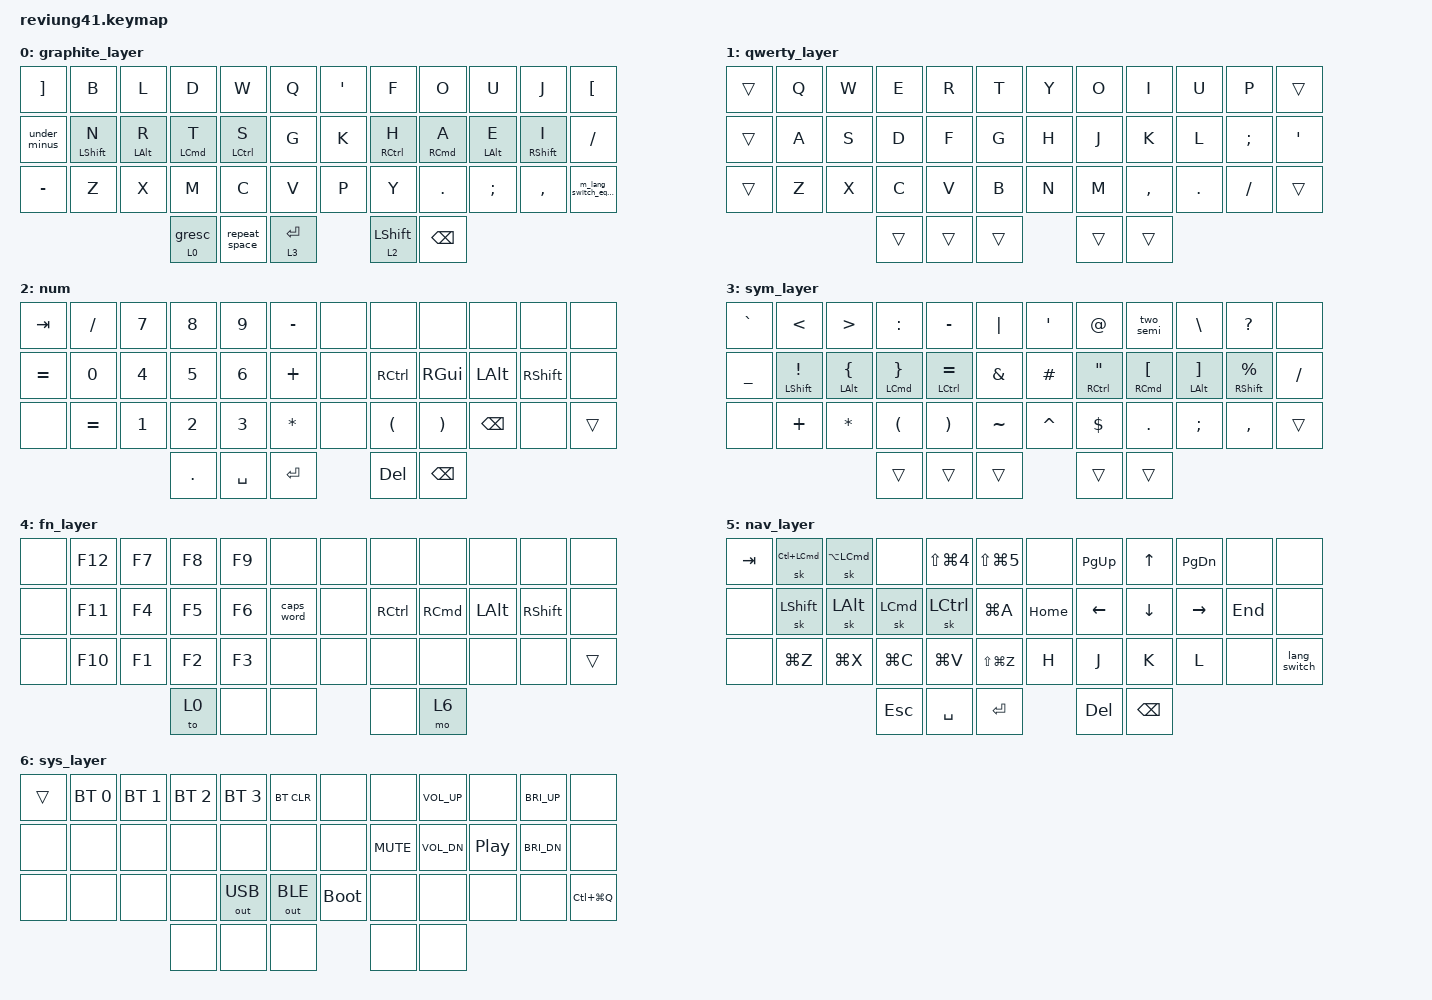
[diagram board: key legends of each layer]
/*
 * Copyright (c) 2020 The ZMK Contributors
 *
 * SPDX-License-Identifier: MIT
 */

#include <behaviors.dtsi>
#include <dt-bindings/zmk/bt.h>
#include <dt-bindings/zmk/keys.h>
#include <dt-bindings/zmk/outputs.h>

#define CMK 0
#define SMK 1
#define QWT 2
#define LOWER 3
#define RAISE 4
#define ADJUST 5

&mt { quick-tap-ms = <150>; };

&sl { /delete-property/ quick-release; };

&caps_word { continue-list = <UNDERSCORE MINUS BACKSPACE DELETE>; };

&gresc {
    mods = <(MOD_LGUI|MOD_RGUI)>;
    keep-mods = <(MOD_LGUI|MOD_RGUI)>;
};

/ {
    behaviors {
        lh_hm: lh_hm {
            compatible = "zmk,behavior-hold-tap";
            label = "left_hand_homerow_mods";
            bindings = <&kp>, <&kp>;

            #binding-cells = <2>;
            tapping-term-ms = <280>;
            quick-tap-ms = <200>;
            flavor = "balanced";
            require-prior-idle-ms = <60>;
            hold-trigger-on-release;
            hold-trigger-key-positions = <6 7 8 9 10 18 19 20 21 22 30 31 32 33 34 40 39 38 37 36 23 11 35 0 12 24>;
        };

        rh_hm: rh_hm {
            compatible = "zmk,behavior-hold-tap";
            label = "right_hand_homerow_mods";
            bindings = <&kp>, <&kp>;

            #binding-cells = <2>;
            tapping-term-ms = <280>;
            quick-tap-ms = <200>;
            flavor = "balanced";
            require-prior-idle-ms = <60>;
            hold-trigger-key-positions = <0 1 2 3 4 5 12 13 14 15 16 17 24 25 26 27 28 29 36 37 38 40 39 11 23 35>;
            hold-trigger-on-release;
        };

        smart_shft: smart_shft {
            compatible = "zmk,behavior-mod-morph";
            label = "SMART_SHFT";
            bindings = <&quick_sk LSHFT>, <&caps_word>;

            #binding-cells = <0>;
            mods = <(MOD_LSFT)>;
        };

        quick_sk: quick_sk {
            compatible = "zmk,behavior-sticky-key";
            label = "QUICK_STICKY_KEY";
            bindings = <&kp>;
            #binding-cells = <1>;
            release-after-ms = <900>;
            quick-release;
        };

        lh_lt: lh_lt {
            compatible = "zmk,behavior-hold-tap";
            label = "left_hand_layer_tap";
            bindings = <&mo>, <&kp>;

            #binding-cells = <2>;
            tapping-term-ms = <280>;
            flavor = "balanced";
            hold-trigger-key-positions = <6 7 8 9 10 11 18 19 20 21 22 23 30 31 32 33 34 35 39 40 36 37 38>;
            require-prior-idle-ms = <75>;
            quick-tap-ms = <200>;
        };

        rh_lt: rh_lt {
            compatible = "zmk,behavior-hold-tap";
            label = "right_hand_layer_tap";
            bindings = <&mo>, <&kp>;

            #binding-cells = <2>;
            tapping-term-ms = <280>;
            flavor = "balanced";
            hold-trigger-key-positions = <0 1 2 3 4 5 12 13 14 15 16 17 24 25 26 27 28 29 36 37 38 39 40>;
            require-prior-idle-ms = <75>;
            quick-tap-ms = <200>;
        };

        layer_gresc: layer_gresc {
            compatible = "zmk,behavior-hold-tap";
            label = "LAYER_GRESC";
            bindings = <&mo>, <&gresc>;

            #binding-cells = <2>;
            tapping-term-ms = <200>;
            quick-tap-ms = <150>;
            flavor = "tap-preferred";
        };

        layer_switcher: layer_switcher {
            compatible = "zmk,behavior-hold-tap";
            label = "LAYER_SWITCHER";
            bindings = <&mo>, <&tog>;

            #binding-cells = <2>;
            tapping-term-ms = <200>;
            flavor = "balanced";
        };

        m_lang_switch_equal: m_lang_switch_equal {
            compatible = "zmk,behavior-mod-morph";
            label = "M_LANG_SWITCH_EQUAL";
            bindings = <&lang_switch>, <&kp EQUAL>;

            #binding-cells = <0>;
            mods = <(MOD_RGUI|MOD_LGUI)>;
            keep-mods = <(MOD_RGUI|MOD_LGUI)>;
        };

        repeat_lt_sym_u: repeat_lt_sym_u {
            compatible = "zmk,behavior-mod-morph";
            label = "REPEAT_LT_SYM_U";
            bindings = <&rh_lt 3 U>, <&kp U>;

            #binding-cells = <0>;
            mods = <(MOD_LCTL)>;
            keep-mods = <(MOD_LCTL)>;
        };

        repeat_space: repeat_space {
            compatible = "zmk,behavior-mod-morph";
            label = "REPEAT_SPACE";
            bindings = <&lt 5 SPACE>, <&kp SPACE>;

            #binding-cells = <0>;
            mods = <(MOD_RSFT)>;
            keep-mods = <(MOD_RSFT)>;
        };

        thumb_lt: thumb_lt {
            compatible = "zmk,behavior-hold-tap";
            label = "THUMB_LT";
            bindings = <&mo>, <&kp>;

            #binding-cells = <2>;
            tapping-term-ms = <280>;
            flavor = "hold-preferred";
        };

        thumb_mt: thumb_mt {
            compatible = "zmk,behavior-hold-tap";
            label = "THUMB_MT";
            bindings = <&kp>, <&kp>;

            #binding-cells = <2>;
            tapping-term-ms = <120>;
            retro-tap;
            quick-tap-ms = <200>;
        };

        layer_sshft: lsk {
            compatible = "zmk,behavior-hold-tap";
            label = "LAYER_SSHFT";
            bindings = <&mo>, <&smart_shft>;

            #binding-cells = <2>;
            tapping-term-ms = <150>;
            flavor = "balanced";
        };

        under_minus: under_minus {
            compatible = "zmk,behavior-mod-morph";
            label = "UNDER_MINUS";
            bindings = <&kp UNDER>, <&kp MINUS>;

            #binding-cells = <0>;
            mods = <(MOD_LSFT|MOD_RSFT|MOD_LCTL|MOD_LGUI|MOD_RGUI|MOD_RCTL|MOD_LALT|MOD_RALT)>;
            keep-mods = <(MOD_LCTL|MOD_LALT|MOD_LGUI|MOD_RCTL|MOD_RALT|MOD_RGUI)>;
        };
    };

    macros {
        lang_switch: lang_switch {
            compatible = "zmk,behavior-macro";
            #binding-cells = <0>;
            bindings = <&tog 1 &kp RA(SPACE)>;
            label = "LANG_SWITCH";
        };

        two_semi: two_semi {
            compatible = "zmk,behavior-macro";
            #binding-cells = <0>;
            bindings = <&kp COLON &kp COLON>;
            label = "TWO_SEMI";
        };
    };

    combos { compatible = "zmk,combos"; };

    keymap {
        compatible = "zmk,keymap";

        graphite_layer {
            // -------------------------------------------------------------------------------------
            // |  TAB |  Q  |  W  |  F  |  P  |  B  |   |  J  |  L   |  U  |  Y  |  :  |   BKSP    |
            // | CTRL |  A  |  R  |  S  |  T  |  G  |   |  M  |  N   |  E  |  I  |  O  |    '      |
            // | SHFT |  Z  |  X  |  C  |  D  |  V  |   |  K  |  H   |  ,  |  .  |  /  | SHFT(RET) |
            //              | LGUI   |  LWR/SPC  | RSE/ENT |   LSHFT/BKSP  | ALT |

            bindings = <
&kp RBKT      &kp B           &kp L          &kp D             &kp W           &kp Q                   &kp SQT  &kp F                 &kp O          &kp U          &kp J           &kp LBKT
&under_minus  &lh_hm LSHFT N  &lh_hm LALT R  &lh_hm LCMD T     &lh_hm LCTRL S  &kp G                   &kp K    &rh_hm RCTRL H        &rh_hm RCMD A  &rh_hm LALT E  &rh_hm RSHFT I  &kp FSLH
&kp MINUS     &kp Z           &kp X          &kp M             &kp C           &kp V                   &kp P    &kp Y                 &kp DOT        &kp SEMI       &kp COMMA       &m_lang_switch_equal
                                             &layer_gresc 0 0  &repeat_space          &thumb_lt 3 RET           &layer_sshft 2 LSHFT  &kp BSPC
            >;
        };

        qwerty_layer {
            // -------------------------------------------------------------------------------------
            // |  TAB |  Q  |  W  |  F  |  P  |  B  |   |  J  |  L   |  U  |  Y  |  :  |   BKSP    |
            // | CTRL |  A  |  R  |  S  |  T  |  G  |   |  M  |  N   |  E  |  I  |  O  |    '      |
            // | SHFT |  Z  |  X  |  C  |  D  |  V  |   |  K  |  H   |  ,  |  .  |  /  | SHFT(RET) |
            //              | LGUI   |  LWR/SPC  | RSE/ENT |   LSHFT/BKSP  | ALT |

            bindings = <
&trans  &kp Q  &kp W  &kp E   &kp R   &kp T          &kp Y  &kp O   &kp I      &kp U    &kp P     &trans
&trans  &kp A  &kp S  &kp D   &kp F   &kp G          &kp H  &kp J   &kp K      &kp L    &kp SEMI  &kp SQT
&trans  &kp Z  &kp X  &kp C   &kp V   &kp B          &kp N  &kp M   &kp COMMA  &kp DOT  &kp FSLH  &trans
                      &trans  &trans         &trans         &trans  &trans
            >;
        };

        num {
            bindings = <
&kp TAB    &kp FSLH   &kp N7  &kp N8   &kp N9     &kp MINUS           &none  &none      &none     &none     &none      &none
&kp EQUAL  &kp N0     &kp N4  &kp N5   &kp N6     &kp PLUS            &none  &kp RCTRL  &kp RGUI  &kp LALT  &kp RSHFT  &none
&none      &kp EQUAL  &kp N1  &kp N2   &kp N3     &kp STAR            &none  &kp LPAR   &kp RPAR  &kp BSPC  &none      &trans
                              &kp DOT  &kp SPACE             &kp RET         &kp DEL    &kp BSPC
            >;
        };

        sym_layer {
            bindings = <
&kp GRAVE  &kp LT             &kp GT            &kp COLON         &kp MINUS           &kp PIPE           &kp SQT    &kp AT            &two_semi         &kp BSLH          &kp QMARK           &none
&kp UNDER  &lh_hm LSHFT EXCL  &lh_hm LALT LBRC  &lh_hm LCMD RBRC  &lh_hm LCTRL EQUAL  &kp AMPS           &kp HASH   &rh_hm RCTRL DQT  &rh_hm RCMD LBKT  &rh_hm LALT RBKT  &rh_hm RSHFT PRCNT  &kp FSLH
&none      &kp PLUS           &kp STAR          &kp LPAR          &kp RPAR            &kp TILDE          &kp CARET  &kp DLLR          &kp DOT           &kp SEMI          &kp COMMA           &trans
                                                &trans            &trans                         &trans             &trans            &trans
            >;
        };

        fn_layer {
            bindings = <
&none  &kp F12  &kp F7  &kp F8  &kp F9  &none       &none   &none      &none     &none     &none      &none
&none  &kp F11  &kp F4  &kp F5  &kp F6  &caps_word  &none   &kp RCTRL  &kp RCMD  &kp LALT  &kp RSHFT  &none
&none  &kp F10  &kp F1  &kp F2  &kp F3  &none       &none   &none      &none     &none     &none      &trans
                              &to 0         &none                           &none           &none   &mo 6
            >;
        };

        nav_layer {
            // -----------------------------------------------------------------------------------------
            // |    |  1  |  2  |  3  |  4  |  5  |   |  6  |  7  |  8  |  9  |  0  | DEL |
            // |    |  -  |  =  |  [  |  ]  |  \  |   | F1  | F2  | F3  | F4  | F5  | F6  |
            // |    | ESC | GUI | ALT | CAPS|  "  |   | F7  | F8  | F9  | F10 | F11 | F12 |
            //                       |     | ADJ | BKSP |    |     |

            bindings = <
&kp TAB  &sk LC(LCMD)  &sk LA(LCMD)  &none      &kp LS(LG(NUMBER_4))  &kp LS(LG(N5))             &none     &kp PG_UP  &kp UP    &kp PG_DN  &none    &none
&none    &sk LSHFT     &sk LALT      &sk LCMD   &sk LCTRL             &kp LG(A)                  &kp HOME  &kp LEFT   &kp DOWN  &kp RIGHT  &kp END  &none
&none    &kp LG(Z)     &kp LG(X)     &kp LG(C)  &kp LG(V)             &kp LS(LG(Z))              &kp H     &kp J      &kp K     &kp L      &none    &lang_switch
                                     &kp ESC    &kp SPACE                             &kp ENTER            &kp DEL    &kp BSPC
            >;
        };

        sys_layer {
            // -----------------------------------------------------------------------------------------
            // | RGB BRI+ | RGB SAT+ | RGB HUE+ | RGB ANI+ |    | RGB TOG |   |  BT1  | BT2 | BT3 | BT4 | BT5 | BT CLR |
            // | RGB BRI- | RGB SAT- | RGB HUE- | RGB ANI- |    |         |   |       |     |     |     |     |        |
            // |          |          |          |          |    |         |   |       |     |     |     |     |        |
            //                                              |     |     |     |     |     |

            bindings = <
&trans  &bt BT_SEL 0  &bt BT_SEL 1  &bt BT_SEL 2  &bt BT_SEL 3  &bt BT_CLR           &none        &none       &kp C_VOL_UP  &none     &kp C_BRI_UP  &none
&none   &none         &none         &none         &none         &none                &none        &kp C_MUTE  &kp C_VOL_DN  &kp C_PP  &kp C_BRI_DN  &none
&none   &none         &none         &none         &out OUT_USB  &out OUT_BLE         &bootloader  &none       &none         &none     &none         &kp LC(LG(Q))
                                    &none         &none                       &none               &none       &none
            >;
        };
    };
};
